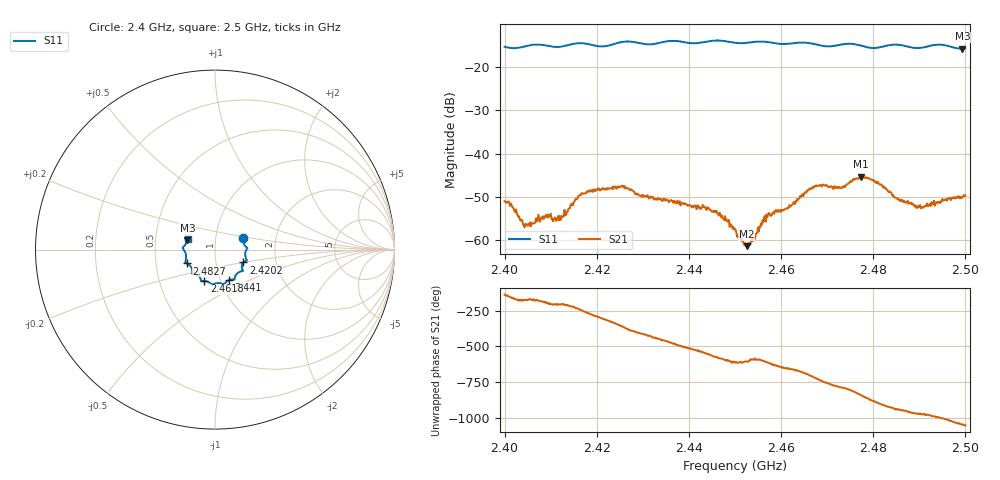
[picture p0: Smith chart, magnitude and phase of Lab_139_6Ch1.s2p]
# Hz S RI R 50
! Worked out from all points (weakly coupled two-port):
!   601 points, 2.4 GHz to 2.5 GHz, reference 50 ohm
!   highest |S21| = -45.34 dB at 2.4773 GHz (marker M1); lowest = -61.3 dB at 2.4525 GHz (marker M2)
!   lowest |S11| = -15.8 dB at 2.4993 GHz (marker M3), VSWR 1.39, Z = 36.5 + j3.85 ohm
!   |S11| at or under -10 dB: start of sweep to end of sweep
!   S12 and S22 are empty: the file has one direction only
!   S11 on the Smith chart (normalised r, x): 2.4 GHz: 1.36, +0.18; 2.4202 GHz: 1.36, -0.20; 2.441 GHz: 1.10, -0.39; 2.4618 GHz: 0.84, -0.30; 2.4827 GHz: 0.72, -0.12; 2.5 GHz: 0.73, +0.09
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2.4e9  0.1582 0.0629  -0.00208 -0.00193  0 0  0 0
2.404833e9  0.1739 0.0145  -0.00151 -0.000176  0 0  0 0
2.4095e9  0.1744 -0.00184  -0.00171 0.000716  0 0  0 0
2.412333e9  0.1684 -0.0318  -0.00171 0.000854  0 0  0 0
2.416667e9  0.1774 -0.0606  -0.00138 0.0032  0 0  0 0
2.420167e9  0.1584 -0.0713  0.00158 0.00351  0 0  0 0
2.4255e9  0.1555 -0.1158  0.00428 9.46e-05  0 0  0 0
2.433333e9  0.1116 -0.151  0.000204 -0.00307  0 0  0 0
2.441e9  0.0784 -0.1696  -0.00227 -0.00079  0 0  0 0
2.446167e9  0.0499 -0.1953  -0.00163 0.00122  0 0  0 0
2.45e9  0.0283 -0.1872  -0.000354 0.00131  0 0  0 0
2.4525e9  0.00326 -0.1891  -0.000344 0.000786  0 0  0 0
2.456833e9  -0.0188 -0.193  -0.000588 0.0019  0 0  0 0
2.461833e9  -0.0594 -0.1756  0.00114 0.00228  0 0  0 0
2.466667e9  -0.0786 -0.1684  0.00396 0.000816  0 0  0 0
2.473333e9  -0.1221 -0.1346  0.00146 -0.00378  0 0  0 0
2.477333e9  -0.1266 -0.1218  -0.00283 -0.00461  0 0  0 0
2.482667e9  -0.1561 -0.0773  -0.00384 0.00117  0 0  0 0
2.483333e9  -0.1605 -0.0752  -0.0033 0.00143  0 0  0 0
2.49e9  -0.1632 -0.0234  -0.000664 0.00233  0 0  0 0
2.499333e9  -0.1537 0.0513  0.00266 0.00163  0 0  0 0
2.5e9  -0.152 0.0608  0.00292 0.0015  0 0  0 0
